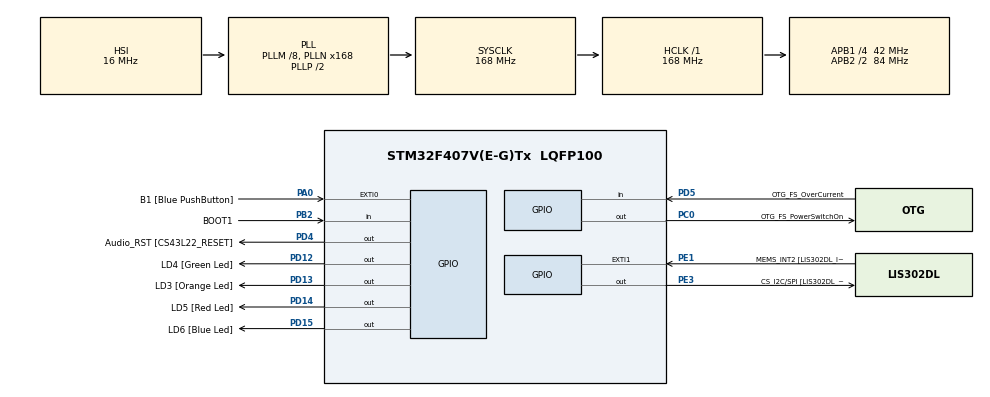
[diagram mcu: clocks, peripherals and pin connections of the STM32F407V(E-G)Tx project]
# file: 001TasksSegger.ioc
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Mcu.Family=STM32F4
Mcu.Name=STM32F407V(E-G)Tx
Mcu.Package=LQFP100
NVIC.PriorityGroup=NVIC_PRIORITYGROUP_4
NVIC.TIM6_DAC_IRQn=true\:0\:0\:false\:false\:true\:false\:true\:true
NVIC.TimeBase=TIM6_DAC_IRQn
NVIC.TimeBaseIP=TIM6
PA0-WKUP.GPIO_Label=B1 [Blue PushButton]
PA0-WKUP.Signal=GPXTI0
PA10.GPIO_Label=OTG_FS_ID
PA10.GPIO_Mode=GPIO_MODE_AF_PP
PA10.GPIO_PuPd=GPIO_NOPULL
PA10.GPIO_Speed=GPIO_SPEED_FREQ_LOW
PA10.Signal=USB_OTG_FS_ID
PA11.GPIO_Label=OTG_FS_DM
PA11.GPIO_Mode=GPIO_MODE_AF_PP
PA11.GPIO_PuPd=GPIO_NOPULL
PA11.GPIO_Speed=GPIO_SPEED_FREQ_LOW
PA11.Signal=USB_OTG_FS_DM
PA12.GPIO_Label=OTG_FS_DP
PA12.GPIO_Mode=GPIO_MODE_AF_PP
PA12.GPIO_PuPd=GPIO_NOPULL
PA12.GPIO_Speed=GPIO_SPEED_FREQ_LOW
PA12.Signal=USB_OTG_FS_DP
PA13.GPIO_Label=SWDIO
PA13.Signal=SYS_JTMS-SWDIO
PA14.GPIO_Label=SWCLK
PA14.Signal=SYS_JTCK-SWCLK
PA4.GPIO_Label=I2S3_WS [CS43L22_LRCK]
PA4.GPIO_Mode=GPIO_MODE_AF_PP
PA4.GPIO_PuPd=GPIO_NOPULL
PA4.GPIO_Speed=GPIO_SPEED_FREQ_LOW
PA4.Signal=I2S3_WS
PA5.GPIO_Label=SPI1_SCK [LIS302DL_SCL/SPC]
PA5.GPIO_Mode=GPIO_MODE_AF_PP
PA5.GPIO_PuPd=GPIO_NOPULL
PA5.GPIO_Speed=GPIO_SPEED_FREQ_LOW
PA5.Signal=SPI1_SCK
PA6.GPIO_Label=SPI1_MISO [LIS302DL_SDO]
PA6.GPIO_Mode=GPIO_MODE_AF_PP
PA6.GPIO_PuPd=GPIO_NOPULL
PA6.GPIO_Speed=GPIO_SPEED_FREQ_LOW
PA6.Signal=SPI1_MISO
PA7.GPIO_Label=SPI1_MOSI [LIS302DL_SDA/SDI/SDO]
PA7.GPIO_Mode=GPIO_MODE_AF_PP
PA7.GPIO_PuPd=GPIO_NOPULL
PA7.GPIO_Speed=GPIO_SPEED_FREQ_LOW
PA7.Signal=SPI1_MOSI
PA9.GPIO_Label=VBUS_FS
PA9.GPIO_Mode=GPIO_MODE_INPUT
PA9.GPIO_PuPd=GPIO_NOPULL
PA9.Signal=USB_OTG_FS_VBUS
PB10.GPIO_Label=CLK_IN [MP45DT02_CLK]
PB10.GPIO_Mode=GPIO_MODE_AF_PP
PB10.GPIO_PuPd=GPIO_NOPULL
PB10.GPIO_Speed=GPIO_SPEED_FREQ_LOW
PB10.Signal=I2S2_CK
PB2.GPIO_Label=BOOT1
PB2.GPIO_Mode=GPIO_MODE_INPUT
PB2.GPIO_PuPd=GPIO_NOPULL
PB2.Signal=GPIO_Input
PB3.GPIO_Label=SWO
PB3.Signal=SYS_JTDO-SWO
PB6.GPIO_Label=Audio_SCL [CS43L22_SCL]
PB6.GPIO_Mode=GPIO_MODE_AF_OD
PB6.GPIO_PuPd=GPIO_NOPULL
PB6.GPIO_Speed=GPIO_SPEED_FREQ_LOW
PB6.Signal=I2C1_SCL
PB9.GPIO_Label=Audio_SDA [CS43L22_SDA]
PB9.GPIO_Mode=GPIO_MODE_AF_OD
PB9.GPIO_PuPd=GPIO_NOPULL
PB9.GPIO_Speed=GPIO_SPEED_FREQ_LOW
PB9.Signal=I2C1_SDA
PC0.GPIO_Label=OTG_FS_PowerSwitchOn
PC0.GPIO_PuPd=GPIO_NOPULL
PC0.GPIO_Speed=GPIO_SPEED_FREQ_LOW
PC0.PinState=GPIO_PIN_SET
PC0.Signal=GPIO_Output
PC10.GPIO_Label=I2S3_SCK [CS43L22_SCLK]
PC10.GPIO_Mode=GPIO_MODE_AF_PP
PC10.GPIO_PuPd=GPIO_NOPULL
PC10.GPIO_Speed=GPIO_SPEED_FREQ_LOW
PC10.Signal=I2S3_CK
PC12.GPIO_Label=I2S3_SD [CS43L22_SDIN]
PC12.GPIO_Mode=GPIO_MODE_AF_PP
PC12.GPIO_PuPd=GPIO_NOPULL
PC12.GPIO_Speed=GPIO_SPEED_FREQ_LOW
PC12.Signal=I2S3_SD
PC14-OSC32_IN.GPIO_Label=PC14-OSC32_IN
PC14-OSC32_IN.Signal=RCC_OSC32_IN
PC15-OSC32_OUT.GPIO_Label=PC15-OSC32_OUT
PC15-OSC32_OUT.Signal=RCC_OSC32_OUT
PC3.GPIO_Label=PDM_OUT [MP45DT02_DOUT]
PC3.GPIO_Mode=GPIO_MODE_AF_PP
PC3.GPIO_PuPd=GPIO_NOPULL
PC3.GPIO_Speed=GPIO_SPEED_FREQ_LOW
PC3.Signal=I2S2_SD
PC7.GPIO_Label=I2S3_MCK [CS43L22_MCLK]
PC7.GPIO_Mode=GPIO_MODE_AF_PP
PC7.GPIO_PuPd=GPIO_NOPULL
PC7.GPIO_Speed=GPIO_SPEED_FREQ_LOW
PC7.Signal=I2S3_MCK
PD12.GPIO_Label=LD4 [Green Led]
PD12.GPIO_PuPd=GPIO_NOPULL
PD12.GPIO_Speed=GPIO_SPEED_FREQ_LOW
PD12.Signal=GPIO_Output
PD13.GPIO_Label=LD3 [Orange Led]
PD13.GPIO_PuPd=GPIO_NOPULL
PD13.GPIO_Speed=GPIO_SPEED_FREQ_LOW
PD13.Signal=GPIO_Output
PD14.GPIO_Label=LD5 [Red Led]
PD14.GPIO_PuPd=GPIO_NOPULL
PD14.GPIO_Speed=GPIO_SPEED_FREQ_LOW
PD14.Signal=GPIO_Output
PD15.GPIO_Label=LD6 [Blue Led]
PD15.GPIO_PuPd=GPIO_NOPULL
PD15.GPIO_Speed=GPIO_SPEED_FREQ_LOW
PD15.Signal=GPIO_Output
PD4.GPIO_Label=Audio_RST [CS43L22_RESET]
PD4.GPIO_PuPd=GPIO_NOPULL
PD4.GPIO_Speed=GPIO_SPEED_FREQ_LOW
PD4.Signal=GPIO_Output
PD5.GPIO_Label=OTG_FS_OverCurrent
PD5.GPIO_Mode=GPIO_MODE_INPUT
PD5.GPIO_PuPd=GPIO_NOPULL
PD5.Signal=GPIO_Input
PE1.GPIO_Label=MEMS_INT2 [LIS302DL_INT2]
PE1.GPIO_ModeDefaultEXTI=GPIO_MODE_EVT_RISING
PE1.GPIO_PuPd=GPIO_NOPULL
PE1.Signal=GPXTI1
PE3.GPIO_Label=CS_I2C/SPI [LIS302DL_CS_I2C/SPI]
PE3.GPIO_PuPd=GPIO_NOPULL
PE3.GPIO_Speed=GPIO_SPEED_FREQ_LOW
PE3.Signal=GPIO_Output
PH0-OSC_IN.GPIO_Label=PH0-OSC_IN
PH0-OSC_IN.Signal=RCC_OSC_IN
PH1-OSC_OUT.GPIO_Label=PH1-OSC_OUT
PH1-OSC_OUT.Signal=RCC_OSC_OUT
ProjectManager.HeapSize=0x200
ProjectManager.StackSize=0x400
ProjectManager.TargetToolchain=STM32CubeIDE
RCC.48MHZClocksFreq_Value=48000000
RCC.AHBFreq_Value=168000000
RCC.APB1CLKDivider=RCC_HCLK_DIV4
RCC.APB1Freq_Value=42000000
RCC.APB1TimFreq_Value=84000000
RCC.APB2CLKDivider=RCC_HCLK_DIV2
RCC.APB2Freq_Value=84000000
RCC.APB2TimFreq_Value=168000000
RCC.CortexFreq_Value=168000000
RCC.HCLKFreq_Value=168000000
RCC.HSE_VALUE=8000000
RCC.HSI_VALUE=16000000
RCC.LSE_VALUE=32768
RCC.PLLM=8
RCC.PLLN=168
RCC.PLLQ=7
RCC.SYSCLKFreq_VALUE=168000000
RCC.SYSCLKSource=RCC_SYSCLKSOURCE_PLLCLK
RCC.VCOOutputFreq_Value=336000000
VP_SYS_VS_tim6.Mode=TIM6
board=STM32F407G-DISC1

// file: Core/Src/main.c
/* USER CODE BEGIN Header */
/**
  ******************************************************************************
  * @file           : main.c
  * @brief          : Main program body
  ******************************************************************************
  * @attention
  *
  * Copyright (c) 2023 STMicroelectronics.
  * All rights reserved.
  *
  * This software is licensed under terms that can be found in the LICENSE file
  * in the root directory of this software component.
  * If no LICENSE file comes with this software, it is provided AS-IS.
  *
  ******************************************************************************
  */
/* USER CODE END Header */
#include "main.h"

/* USER CODE BEGIN Includes */
#include <stdio.h>
#include "FreeRTOS.h"
#include "task.h"
/* USER CODE END Includes */

/* USER CODE BEGIN PV */
#define DWT_CTRL	(*(volatile uint32_t*)0XE0001000)
/* USER CODE END PV */

void SystemClock_Config(void);
static void MX_GPIO_Init(void);
/* USER CODE BEGIN PFP */
extern void SEGGER_UART_init(uint32_t);
static void task1_handler(void* parameters);
static void task2_handler(void* parameters);
/* USER CODE END PFP */

int main(void)
{
  /* USER CODE BEGIN 1 */
	TaskHandle_t task1_handle;
	TaskHandle_t task2_handle;

	BaseType_t status;
  /* USER CODE END 1 */

  /* MCU Configuration--------------------------------------------------------*/

  /* Reset of all peripherals, Initializes the Flash interface and the Systick. */
  HAL_Init();

  /* Configure the system clock */
  SystemClock_Config();

  /* Initialize all configured peripherals */
  MX_GPIO_Init();
  /* USER CODE BEGIN 2 */

  //Enable the CYCCNT counter
  DWT_CTRL |= (1<<0);

  SEGGER_UART_init(250000);

  SEGGER_SYSVIEW_Conf();
  //SEGGER_SYSVIEW_Start();

  status = xTaskCreate(task1_handler, "Task-1", 200,"Hello world from Task-1",2,&task1_handle);
  configASSERT(status == pdPASS);
  status = xTaskCreate(task2_handler, "Task-2", 200,"Hello world from Task-2",2,&task2_handle);
  configASSERT(status == pdPASS);

  //Start the freeRTOS scheduler
  vTaskStartScheduler();

  //If the control comes here then the launch of the scheduler has failed due to insufficient memory in heap

  /* USER CODE END 2 */

  /* Infinite loop */
  while (1)
  {

  }
}

void SystemClock_Config(void)
{
  RCC_OscInitTypeDef RCC_OscInitStruct = {0};
  RCC_ClkInitTypeDef RCC_ClkInitStruct = {0};

  /** Configure the main internal regulator output voltage
  */
  __HAL_RCC_PWR_CLK_ENABLE();
  __HAL_PWR_VOLTAGESCALING_CONFIG(PWR_REGULATOR_VOLTAGE_SCALE1);

  /** Initializes the RCC Oscillators according to the specified parameters
  * in the RCC_OscInitTypeDef structure.
  */
  RCC_OscInitStruct.OscillatorType = RCC_OSCILLATORTYPE_HSI;
  RCC_OscInitStruct.HSIState = RCC_HSI_ON;
  RCC_OscInitStruct.HSICalibrationValue = RCC_HSICALIBRATION_DEFAULT;
  RCC_OscInitStruct.PLL.PLLState = RCC_PLL_ON;
  RCC_OscInitStruct.PLL.PLLSource = RCC_PLLSOURCE_HSI;
  RCC_OscInitStruct.PLL.PLLM = 8;
  RCC_OscInitStruct.PLL.PLLN = 168;
  RCC_OscInitStruct.PLL.PLLP = RCC_PLLP_DIV2;
  RCC_OscInitStruct.PLL.PLLQ = 7;
  if (HAL_RCC_OscConfig(&RCC_OscInitStruct) != HAL_OK)
  {
    Error_Handler();
  }

  /** Initializes the CPU, AHB and APB buses clocks
  */
  RCC_ClkInitStruct.ClockType = RCC_CLOCKTYPE_HCLK|RCC_CLOCKTYPE_SYSCLK
                              |RCC_CLOCKTYPE_PCLK1|RCC_CLOCKTYPE_PCLK2;
  RCC_ClkInitStruct.SYSCLKSource = RCC_SYSCLKSOURCE_PLLCLK;
  RCC_ClkInitStruct.AHBCLKDivider = RCC_SYSCLK_DIV1;
  RCC_ClkInitStruct.APB1CLKDivider = RCC_HCLK_DIV4;
  RCC_ClkInitStruct.APB2CLKDivider = RCC_HCLK_DIV2;

  if (HAL_RCC_ClockConfig(&RCC_ClkInitStruct, FLASH_LATENCY_5) != HAL_OK)
  {
    Error_Handler();
  }
}

static void MX_GPIO_Init(void)
{
  GPIO_InitTypeDef GPIO_InitStruct = {0};

  /* GPIO Ports Clock Enable */
  __HAL_RCC_GPIOE_CLK_ENABLE();
  __HAL_RCC_GPIOC_CLK_ENABLE();
  __HAL_RCC_GPIOH_CLK_ENABLE();
  __HAL_RCC_GPIOA_CLK_ENABLE();
  __HAL_RCC_GPIOB_CLK_ENABLE();
  __HAL_RCC_GPIOD_CLK_ENABLE();

  /*Configure GPIO pin Output Level */
  HAL_GPIO_WritePin(CS_I2C_SPI_GPIO_Port, CS_I2C_SPI_Pin, GPIO_PIN_RESET);

  /*Configure GPIO pin Output Level */
  HAL_GPIO_WritePin(OTG_FS_PowerSwitchOn_GPIO_Port, OTG_FS_PowerSwitchOn_Pin, GPIO_PIN_SET);

  /*Configure GPIO pin Output Level */
  HAL_GPIO_WritePin(GPIOD, LD4_Pin|LD3_Pin|LD5_Pin|LD6_Pin
                          |Audio_RST_Pin, GPIO_PIN_RESET);

  /*Configure GPIO pin : CS_I2C_SPI_Pin */
  GPIO_InitStruct.Pin = CS_I2C_SPI_Pin;
  GPIO_InitStruct.Mode = GPIO_MODE_OUTPUT_PP;
  GPIO_InitStruct.Pull = GPIO_NOPULL;
  GPIO_InitStruct.Speed = GPIO_SPEED_FREQ_LOW;
  HAL_GPIO_Init(CS_I2C_SPI_GPIO_Port, &GPIO_InitStruct);

  /*Configure GPIO pin : OTG_FS_PowerSwitchOn_Pin */
  GPIO_InitStruct.Pin = OTG_FS_PowerSwitchOn_Pin;
  GPIO_InitStruct.Mode = GPIO_MODE_OUTPUT_PP;
  GPIO_InitStruct.Pull = GPIO_NOPULL;
  GPIO_InitStruct.Speed = GPIO_SPEED_FREQ_LOW;
  HAL_GPIO_Init(OTG_FS_PowerSwitchOn_GPIO_Port, &GPIO_InitStruct);

  /*Configure GPIO pin : PDM_OUT_Pin */
  GPIO_InitStruct.Pin = PDM_OUT_Pin;
  GPIO_InitStruct.Mode = GPIO_MODE_AF_PP;
  GPIO_InitStruct.Pull = GPIO_NOPULL;
  GPIO_InitStruct.Speed = GPIO_SPEED_FREQ_LOW;
  GPIO_InitStruct.Alternate = GPIO_AF5_SPI2;
  HAL_GPIO_Init(PDM_OUT_GPIO_Port, &GPIO_InitStruct);

  /*Configure GPIO pin : B1_Pin */
  GPIO_InitStruct.Pin = B1_Pin;
  GPIO_InitStruct.Mode = GPIO_MODE_IT_RISING;
  GPIO_InitStruct.Pull = GPIO_NOPULL;
  HAL_GPIO_Init(B1_GPIO_Port, &GPIO_InitStruct);

  /*Configure GPIO pin : I2S3_WS_Pin */
  GPIO_InitStruct.Pin = I2S3_WS_Pin;
  GPIO_InitStruct.Mode = GPIO_MODE_AF_PP;
  GPIO_InitStruct.Pull = GPIO_NOPULL;
  GPIO_InitStruct.Speed = GPIO_SPEED_FREQ_LOW;
  GPIO_InitStruct.Alternate = GPIO_AF6_SPI3;
  HAL_GPIO_Init(I2S3_WS_GPIO_Port, &GPIO_InitStruct);

  /*Configure GPIO pins : SPI1_SCK_Pin SPI1_MISO_Pin SPI1_MOSI_Pin */
  GPIO_InitStruct.Pin = SPI1_SCK_Pin|SPI1_MISO_Pin|SPI1_MOSI_Pin;
  GPIO_InitStruct.Mode = GPIO_MODE_AF_PP;
  GPIO_InitStruct.Pull = GPIO_NOPULL;
  GPIO_InitStruct.Speed = GPIO_SPEED_FREQ_LOW;
  GPIO_InitStruct.Alternate = GPIO_AF5_SPI1;
  HAL_GPIO_Init(GPIOA, &GPIO_InitStruct);

  /*Configure GPIO pin : BOOT1_Pin */
  GPIO_InitStruct.Pin = BOOT1_Pin;
  GPIO_InitStruct.Mode = GPIO_MODE_INPUT;
  GPIO_InitStruct.Pull = GPIO_NOPULL;
  HAL_GPIO_Init(BOOT1_GPIO_Port, &GPIO_InitStruct);

  /*Configure GPIO pin : CLK_IN_Pin */
  GPIO_InitStruct.Pin = CLK_IN_Pin;
  GPIO_InitStruct.Mode = GPIO_MODE_AF_PP;
  GPIO_InitStruct.Pull = GPIO_NOPULL;
  GPIO_InitStruct.Speed = GPIO_SPEED_FREQ_LOW;
  GPIO_InitStruct.Alternate = GPIO_AF5_SPI2;
  HAL_GPIO_Init(CLK_IN_GPIO_Port, &GPIO_InitStruct);

  /*Configure GPIO pins : LD4_Pin LD3_Pin LD5_Pin LD6_Pin
                           Audio_RST_Pin */
  GPIO_InitStruct.Pin = LD4_Pin|LD3_Pin|LD5_Pin|LD6_Pin
                          |Audio_RST_Pin;
  GPIO_InitStruct.Mode = GPIO_MODE_OUTPUT_PP;
  GPIO_InitStruct.Pull = GPIO_NOPULL;
  GPIO_InitStruct.Speed = GPIO_SPEED_FREQ_LOW;
  HAL_GPIO_Init(GPIOD, &GPIO_InitStruct);

  /*Configure GPIO pins : I2S3_MCK_Pin I2S3_SCK_Pin I2S3_SD_Pin */
  GPIO_InitStruct.Pin = I2S3_MCK_Pin|I2S3_SCK_Pin|I2S3_SD_Pin;
  GPIO_InitStruct.Mode = GPIO_MODE_AF_PP;
  GPIO_InitStruct.Pull = GPIO_NOPULL;
  GPIO_InitStruct.Speed = GPIO_SPEED_FREQ_LOW;
  GPIO_InitStruct.Alternate = GPIO_AF6_SPI3;
  HAL_GPIO_Init(GPIOC, &GPIO_InitStruct);

  /*Configure GPIO pin : VBUS_FS_Pin */
  GPIO_InitStruct.Pin = VBUS_FS_Pin;
  GPIO_InitStruct.Mode = GPIO_MODE_INPUT;
  GPIO_InitStruct.Pull = GPIO_NOPULL;
  HAL_GPIO_Init(VBUS_FS_GPIO_Port, &GPIO_InitStruct);

  /*Configure GPIO pins : OTG_FS_ID_Pin OTG_FS_DM_Pin OTG_FS_DP_Pin */
  GPIO_InitStruct.Pin = OTG_FS_ID_Pin|OTG_FS_DM_Pin|OTG_FS_DP_Pin;
  GPIO_InitStruct.Mode = GPIO_MODE_AF_PP;
  GPIO_InitStruct.Pull = GPIO_NOPULL;
  GPIO_InitStruct.Speed = GPIO_SPEED_FREQ_LOW;
  GPIO_InitStruct.Alternate = GPIO_AF10_OTG_FS;
  HAL_GPIO_Init(GPIOA, &GPIO_InitStruct);

  /*Configure GPIO pin : OTG_FS_OverCurrent_Pin */
  GPIO_InitStruct.Pin = OTG_FS_OverCurrent_Pin;
  GPIO_InitStruct.Mode = GPIO_MODE_INPUT;
  GPIO_InitStruct.Pull = GPIO_NOPULL;
  HAL_GPIO_Init(OTG_FS_OverCurrent_GPIO_Port, &GPIO_InitStruct);

  /*Configure GPIO pins : Audio_SCL_Pin Audio_SDA_Pin */
  GPIO_InitStruct.Pin = Audio_SCL_Pin|Audio_SDA_Pin;
  GPIO_InitStruct.Mode = GPIO_MODE_AF_OD;
  GPIO_InitStruct.Pull = GPIO_NOPULL;
  GPIO_InitStruct.Speed = GPIO_SPEED_FREQ_LOW;
  GPIO_InitStruct.Alternate = GPIO_AF4_I2C1;
  HAL_GPIO_Init(GPIOB, &GPIO_InitStruct);

  /*Configure GPIO pin : MEMS_INT2_Pin */
  GPIO_InitStruct.Pin = MEMS_INT2_Pin;
  GPIO_InitStruct.Mode = GPIO_MODE_EVT_RISING;
  GPIO_InitStruct.Pull = GPIO_NOPULL;
  HAL_GPIO_Init(MEMS_INT2_GPIO_Port, &GPIO_InitStruct);

}

/* USER CODE BEGIN 4 */

static void task1_handler(void *parameters){
	char msg[100];
	while(1){
		//printf("%s\n", (char*)parameters);
		snprintf(msg,100,"%s\n",(char*)parameters);
		SEGGER_SYSVIEW_PrintfTarget(msg);
		taskYIELD();
	}
}
static void task2_handler(void *parameters){
	char msg[100];
		while(1){
			//printf("%s\n", (char*)parameters);
			snprintf(msg,100,"%s\n",(char*)parameters);
			SEGGER_SYSVIEW_PrintfTarget(msg);
			taskYIELD();
		}
}
/* USER CODE END 4 */

void HAL_TIM_PeriodElapsedCallback(TIM_HandleTypeDef *htim)
{
  if (htim->Instance == TIM6) {
    HAL_IncTick();
  }
}

void Error_Handler(void)
{
  __disable_irq();
  while (1)
  {
  }
}
